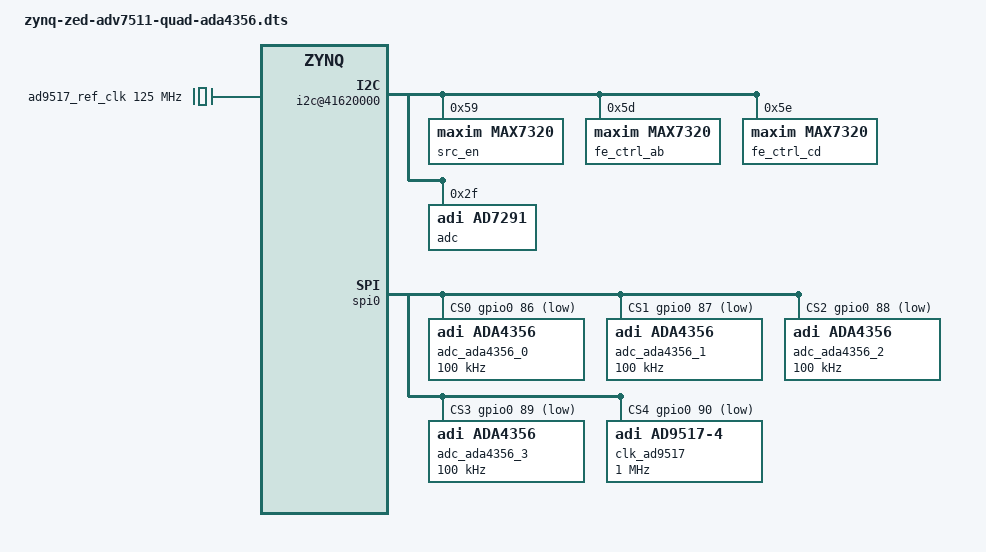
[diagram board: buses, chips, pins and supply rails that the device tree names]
// SPDX-License-Identifier: GPL-2.0
/*
 * Analog Devices Quad ADA4356
 *
 * hdl_project: <quad_ada4356/zed>
 * board_revision: <>
 *
 * Copyright (C) 2025 Analog Devices Inc.
 */
/dts-v1/;

#include "zynq-zed.dtsi"
#include "zynq-zed-adv7511.dtsi"
#include <dt-bindings/gpio/gpio.h>
#include <dt-bindings/interrupt-controller/irq.h>

/ {
	clocks {
		/* Y4, the on-board 125 MHz oscillator feeding the AD9517-4 CLK input */
		ad9517_ref_clk: clock@0 {
			compatible = "fixed-clock";

			clock-frequency = <125000000>;
			clock-output-names = "ad9517_refclk";
			#clock-cells = <0>;
		};
	};
};

&fpga_axi {
	rx_dma_0: dma-controller@44a40000 {
		compatible = "adi,axi-dmac-1.00.a";
		reg = <0x44a40000 0x10000>;
		#dma-cells = <1>;
		interrupts = <0 53 IRQ_TYPE_LEVEL_HIGH>;
		clocks = <&clkc 15>;
	};

	rx_dma_1: dma-controller@44a50000 {
		compatible = "adi,axi-dmac-1.00.a";
		reg = <0x44a50000 0x10000>;
		#dma-cells = <1>;
		interrupts = <0 54 IRQ_TYPE_LEVEL_HIGH>;
		clocks = <&clkc 15>;
	};

	rx_dma_2: dma-controller@44a60000 {
		compatible = "adi,axi-dmac-1.00.a";
		reg = <0x44a60000 0x10000>;
		#dma-cells = <1>;
		interrupts = <0 56 IRQ_TYPE_LEVEL_HIGH>;
		clocks = <&clkc 15>;
	};

	rx_dma_3: dma-controller@44a70000 {
		compatible = "adi,axi-dmac-1.00.a";
		reg = <0x44a70000 0x10000>;
		#dma-cells = <1>;
		interrupts = <0 57 IRQ_TYPE_LEVEL_HIGH>;
		clocks = <&clkc 15>;
	};

	axi_ada4356_0: ada4356-a@44a00000 {
		compatible = "adi,axi-adc-legacy-10.0.a";
		reg = <0x44a00000 0x10000>;
		dmas = <&rx_dma_0 0>;
		dma-names = "rx";
		spibus-connected = <&adc_ada4356_0>;
	};

	axi_ada4356_1: ada4356-b@44a10000 {
		compatible = "adi,axi-adc-legacy-10.0.a";
		reg = <0x44a10000 0x10000>;
		dmas = <&rx_dma_1 0>;
		dma-names = "rx";
		spibus-connected = <&adc_ada4356_1>;
	};

	axi_ada4356_2: ada4356-c@44a20000 {
		compatible = "adi,axi-adc-legacy-10.0.a";
		reg = <0x44a20000 0x10000>;
		dmas = <&rx_dma_2 0>;
		dma-names = "rx";
		spibus-connected = <&adc_ada4356_2>;
	};

	axi_ada4356_3: ada4356-d@44a30000 {
		compatible = "adi,axi-adc-legacy-10.0.a";
		reg = <0x44a30000 0x10000>;
		dmas = <&rx_dma_3 0>;
		dma-names = "rx";
		spibus-connected = <&adc_ada4356_3>;
	};

	/*
	 * The FMC I2C bus (i2c-1 at runtime). Every per-channel analog control
	 * on this board sits behind three MAX7320 8-bit output expanders, and
	 * all three power up in a state that makes the board unusable, so the
	 * hogs below are what bring it up correctly. Output power-up state is a
	 * function of the address strap: 0x59 comes up 0x0F, 0x5D/0x5E 0xFF.
	 * See "Table 3. MAX7320 Address Map", schematic page 24.
	 */
	i2c@41620000 {
		src_en: gpio@59 {
			compatible = "maxim,max7320";
			reg = <0x59>;
			gpio-controller;
			#gpio-cells = <2>;

			gpio-line-names = "VLOGIC_POT", "", "", "",
					  "SRC_EN_A", "SRC_EN_B",
					  "SRC_EN_C", "SRC_EN_D";

			/*
			 * SRC_EN_x drives the SDA_N/SDB_N shutdown pins of each
			 * channel's LTC6269 Howland source directly -- no
			 * inverter, HIGH = running. Left at its 0x0F power-up
			 * value the ADC captures a clean DC pedestal that does
			 * not respond to the input at all, and unplugging the
			 * SMA changes nothing: it looks like dead hardware.
			 * O1..O3 are genuinely unconnected and left alone.
			 */
			src-en-hog {
				gpio-hog;
				gpios = <0 GPIO_ACTIVE_HIGH>,
					<4 GPIO_ACTIVE_HIGH>,
					<5 GPIO_ACTIVE_HIGH>,
					<6 GPIO_ACTIVE_HIGH>,
					<7 GPIO_ACTIVE_HIGH>;
				output-high;
			};
		};

		fe_ctrl_ab: gpio@5d {
			compatible = "maxim,max7320";
			reg = <0x5d>;
			gpio-controller;
			#gpio-cells = <2>;

			gpio-line-names = "CURR_DIV_EN_B", "GSEL0_B",
					  "GSEL1_B", "FREQ_SEL_B",
					  "CURR_DIV_EN_A", "GSEL0_A",
					  "GSEL1_A", "FREQ_SEL_A";

			/*
			 * Per channel: FREQ_SEL=1, GSEL1=0, GSEL0=1,
			 * CURR_DIV_EN=0. FREQ_SEL=1 is the narrow filter and is
			 * worth 1.3 ENOB -- measured, not assumed: clearing it
			 * takes the 10-62.5 MHz noise from 5.5 to 21.5 LSB rms.
			 * The 0xFF power-up leaves GSEL1=GSEL0=1, which the ADI
			 * spec calls an invalid transimpedance setting.
			 */
			fe-ab-high-hog {
				gpio-hog;
				gpios = <1 GPIO_ACTIVE_HIGH>,
					<3 GPIO_ACTIVE_HIGH>,
					<5 GPIO_ACTIVE_HIGH>,
					<7 GPIO_ACTIVE_HIGH>;
				output-high;
			};

			fe-ab-low-hog {
				gpio-hog;
				gpios = <0 GPIO_ACTIVE_HIGH>,
					<2 GPIO_ACTIVE_HIGH>,
					<4 GPIO_ACTIVE_HIGH>,
					<6 GPIO_ACTIVE_HIGH>;
				output-low;
			};
		};

		fe_ctrl_cd: gpio@5e {
			compatible = "maxim,max7320";
			reg = <0x5e>;
			gpio-controller;
			#gpio-cells = <2>;

			gpio-line-names = "CURR_DIV_EN_D", "GSEL0_D",
					  "GSEL1_D", "FREQ_SEL_D",
					  "CURR_DIV_EN_C", "GSEL0_C",
					  "GSEL1_C", "FREQ_SEL_C";

			fe-cd-high-hog {
				gpio-hog;
				gpios = <1 GPIO_ACTIVE_HIGH>,
					<3 GPIO_ACTIVE_HIGH>,
					<5 GPIO_ACTIVE_HIGH>,
					<7 GPIO_ACTIVE_HIGH>;
				output-high;
			};

			fe-cd-low-hog {
				gpio-hog;
				gpios = <0 GPIO_ACTIVE_HIGH>,
					<2 GPIO_ACTIVE_HIGH>,
					<4 GPIO_ACTIVE_HIGH>,
					<6 GPIO_ACTIVE_HIGH>;
				output-low;
			};
		};

		/*
		 * Rail monitor. in_voltage4_raw is 5V_BHCS; the on-board
		 * divider makes it 2.441 mV per count, and DS2's power-good
		 * comparator trips below raw 1843 (4.5 V). Enabling all four
		 * BHCS sources is the largest load on that rail, so this needs
		 * to be present, not hot-added by hand after every boot.
		 */
		adc@2f {
			compatible = "adi,ad7291";
			reg = <0x2f>;
		};
	};
};

/*
 * EMIO GPIO 54 + 32..36 are the chip selects driven through the ad_iobuf in
 * system_top.v: DUT A..D then the clock generator. The PS SPI hard chip
 * selects are not routed to the FMC, so all five go through cs-gpios.
 *
 * The HDL and schematic call the fifth select CSB_AD9510/CSB_AD951X, but U13
 * is an AD9517-4BCPZ.
 */
&spi0 {
	status = "okay";
	num-cs = <5>;

	cs-gpios = <&gpio0 86 GPIO_ACTIVE_LOW>,
		   <&gpio0 87 GPIO_ACTIVE_LOW>,
		   <&gpio0 88 GPIO_ACTIVE_LOW>,
		   <&gpio0 89 GPIO_ACTIVE_LOW>,
		   <&gpio0 90 GPIO_ACTIVE_LOW>;

	adc_ada4356_0: adc@0 {
		compatible = "adi,ada4356";
		reg = <0>;
		spi-max-frequency = <100000>;
		spi-cpol;
		spi-cpha;

		clocks = <&clk_ad9517 4>;
		clock-names = "adc_clk";

		num_lanes = <2>;
	};

	adc_ada4356_1: adc@1 {
		compatible = "adi,ada4356";
		reg = <1>;
		spi-max-frequency = <100000>;
		spi-cpol;
		spi-cpha;

		clocks = <&clk_ad9517 5>;
		clock-names = "adc_clk";

		num_lanes = <2>;
	};

	adc_ada4356_2: adc@2 {
		compatible = "adi,ada4356";
		reg = <2>;
		spi-max-frequency = <100000>;
		spi-cpol;
		spi-cpha;

		clocks = <&clk_ad9517 6>;
		clock-names = "adc_clk";

		num_lanes = <2>;
	};

	adc_ada4356_3: adc@3 {
		compatible = "adi,ada4356";
		reg = <3>;
		spi-max-frequency = <100000>;
		spi-cpol;
		spi-cpha;

		clocks = <&clk_ad9517 7>;
		clock-names = "adc_clk";

		num_lanes = <2>;
	};

	/*
	 * U13: Y4 125 MHz -> REFIN.  LVDS OUT4..OUT7 -> CLKP/N_A..D, one sample
	 * clock per DUT.  LVPECL OUT0..OUT3 are not routed on this board.
	 */
	clk_ad9517: ad9517@4 {
		compatible = "adi,ad9517-4";
		reg = <4>;

		spi-max-frequency = <1000000>;

		clocks = <&ad9517_ref_clk>, <&ad9517_ref_clk>;
		clock-names = "refclk", "clkin";

		clock-output-names = "out0", "out1", "out2", "out3", "out4", "out5", "out6", "out7";
		#clock-cells = <1>;

		/* 125 MHz REFIN /R5 -> 25 MHz PFD x N60 -> 1500 MHz VCO /6 -> 250 MHz /2 -> 125 MHz.
		 * The old "intbypass" file selected the CLK pin, which is the unpopulated EXT_CLK SMA.
		 */
		firmware = "ada4356_pll_ad9517.stp";
	};
};
